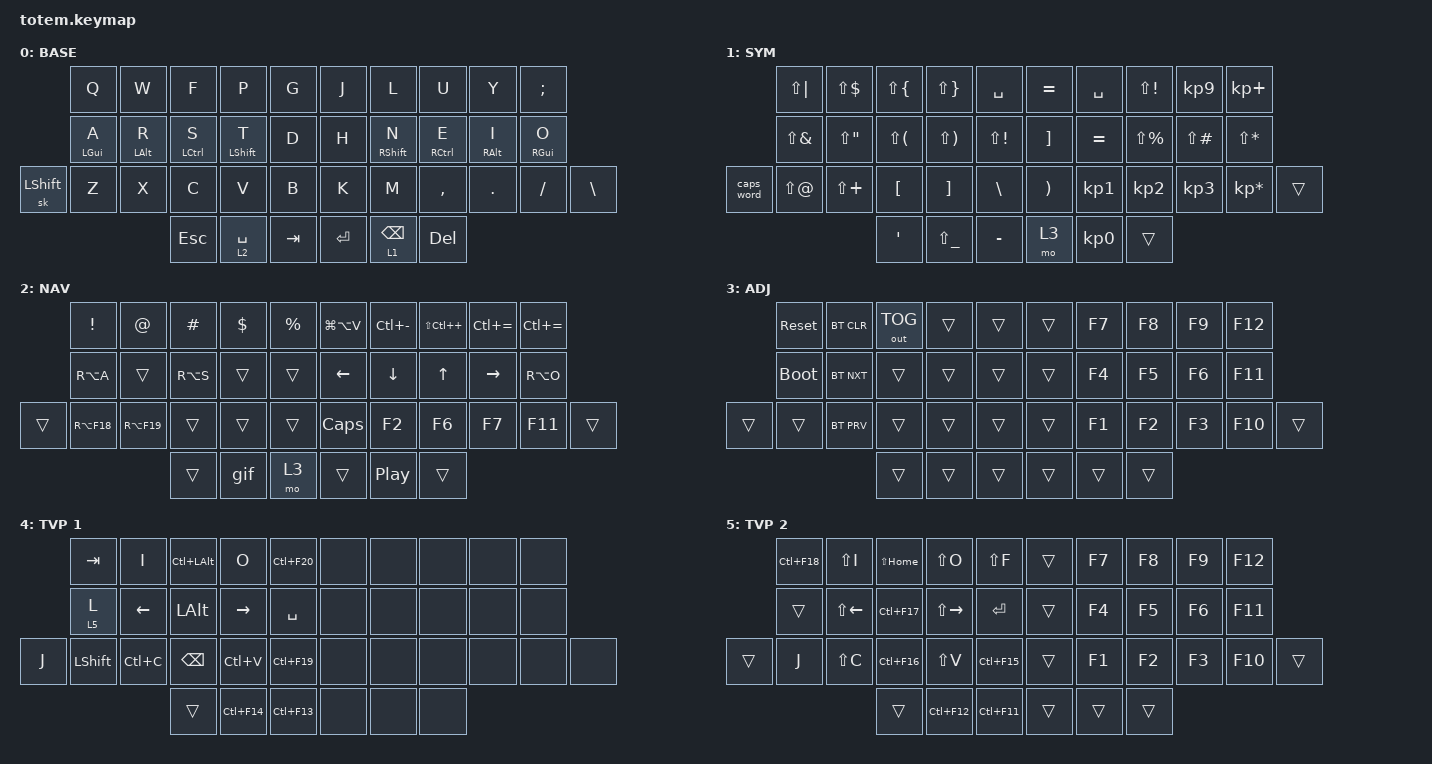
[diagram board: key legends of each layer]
//
//                                                        ▀▀▀▀▀     ▀▀▀▀▀          ▀▀█▀▀
//                                                        ▄▀▀▀▄  ▄  ▄▀▀▀▄  ▄  ▄▀▀▀▄  █  ▄▀▀▀▄
//                                                        █   █  █  █   █  █  █   █  █  █   █
//                                                         ▀▀▀   █   ▀▀▀   █   ▀▀▀   ▀   ▀▀▀
//                                                               █      ▄▄▄█▄▄▄    █   █  
//                                                               ▀      █  █  █     █▄█
//                                                             ▀▀▀▀▀    █  █  █      ▀
//                                                                      ▀  ▀  ▀
//
// ▄▄▄▄▄▄▄▄▄▄▄▄▄▄▄▄▄▄▄▄▄▄▄▄▄▄▄▄▄▄▄▄▄▄▄▄▄▄▄▄▄▄▄▄▄▄▄▄▄▄▄▄▄▄▄▄▄▄▄▄▄▄▄▄▄▄▄▄▄▄▄▄▄▄▄▄▄▄▄▄▄▄▄▄▄▄▄▄▄▄▄▄▄▄▄▄▄▄▄▄▄▄▄▄▄▄▄▄▄▄▄▄▄▄▄▄▄▄▄▄▄▄▄▄▄▄▄▄▄▄▄▄▄▄▄▄▄▄▄▄▄▄▄▄▄▄▄▄▄

#include <behaviors.dtsi>
#include <dt-bindings/zmk/bt.h>
#include <dt-bindings/zmk/keys.h>
#include <dt-bindings/zmk/outputs.h>

#define BASE 0
#define NAV  1
#define SYM  2
#define ADJ  3
#define TVP1 4
#define TVP2 5

&mt {
    quick-tap-ms = <100>;
    global-quick-tap;
    flavor = "tap-preferred";
    tapping-term-ms = <170>;
};

/ {
    combos {
        compatible = "zmk,combos";

        combo_esc {
            timeout-ms = <50>;
            key-positions = <0 1>;
            bindings = <&kp ESC>;
        };

        combo_tvp {
            timeout-ms = <100>;
            key-positions = <11 12 13>;
            bindings = <&tog 4>;
        };
    };

    macros {
        gif: gif {
            label = "giphy";
            compatible = "zmk,behavior-macro";
            #binding-cells = <0>;
            bindings =
                <&macro_press>,
                <&kp LSHFT>,
                <&macro_tap>,
                <&kp N2>,
                <&macro_release>,
                <&kp LSHFT>,
                <&macro_tap>,
                <&kp G &kp I &kp F>;
        };
    };

    keymap {
        compatible = "zmk,keymap";

        // ▄▄▄▄▄▄▄▄▄▄▄▄▄▄▄▄▄▄▄▄▄▄▄▄▄▄▄▄▄▄▄▄▄▄▄▄▄▄▄▄▄▄▄▄▄▄▄▄▄▄▄▄▄▄▄▄▄▄▄▄▄▄▄▄▄▄▄▄▄▄▄▄▄▄▄▄▄▄▄▄▄▄▄▄▄▄▄▄▄▄▄▄▄▄▄▄▄▄▄▄▄▄▄▄▄▄▄▄▄▄▄▄▄▄▄▄▄▄▄▄▄▄▄▄▄▄▄▄▄▄▄▄▄▄▄▄▄▄▄▄▄▄▄▄▄▄▄▄▄

        base {
            // ┏━━━━━━━━━━━━━━━━━━━━━━━━━━━━━━━━━━━━━━━┓

            label = "BASE";

            // ┗━━━━━━━━━━━━━━━━━━━━━━━━━━━━━━━━━━━━━━━┛
            //             ┏━━━━━━━━━━━┳━━━━━━━━━━━┳━━━━━━━━━━━┳━━━━━━━━━━━┳━━━━━━━━━━━┓   ┏━━━━━━━━━━━┳━━━━━━━━━━━┳━━━━━━━━━━━┳━━━━━━━━━━━┳━━━━━━━━━━━┓
            //             ┃     Q     ┃     W     ┃     F     ┃     P     ┃     G     ┃   ┃     J     ┃     L     ┃     U     ┃     Y     ┃     ;     ┃
            //             ┣━━━━━━━━━━━╋━━━━━━━━━━━╋━━━━━━━━━━━╋━━━━━━━━━━━╋━━━━━━━━━━━┫   ┣━━━━━━━━━━━╋━━━━━━━━━━━╋━━━━━━━━━━━╋━━━━━━━━━━━╋━━━━━━━━━━━┫
            //             ┃     A     ┃     R     ┃     S     ┃     T     ┃     D     ┃   ┃     H     ┃     N     ┃     E     ┃     I     ┃     O     ┃
            // ┏━━━━━━━━━━━╋━━━━━━━━━━━╋━━━━━━━━━━━╋━━━━━━━━━━━╋━━━━━━━━━━━╋━━━━━━━━━━━┫   ┣━━━━━━━━━━━╋━━━━━━━━━━━╋━━━━━━━━━━━╋━━━━━━━━━━━╋━━━━━━━━━━━╋━━━━━━━━━━━┓
            // ┃     Q     ┃     Z     ┃     X     ┃     C     ┃     V     ┃     B     ┃   ┃     K     ┃     M     ┃     ,     ┃     .     ┃     /     ┃     \     ┃
            // ┗━━━━━━━━━━━┻━━━━━━━━━━━┻━━━━━━━━━━━╋━━━━━━━━━━━╋━━━━━━━━━━━╋━━━━━━━━━━━┫   ┣━━━━━━━━━━━╋━━━━━━━━━━━╋━━━━━━━━━━━╋━━━━━━━━━━━┻━━━━━━━━━━━┻━━━━━━━━━━━┛
            //                                     ┃    DEL    ┃    TAB    ┃    SPC    ┃   ┃   ENTER   ┃           ┃   BSPC    ┃
            //                                     ┗━━━━━━━━━━━┻━━━━━━━━━━━┻━━━━━━━━━━━┛   ┗━━━━━━━━━━━┻━━━━━━━━━━━┻━━━━━━━━━━━┛

            bindings = <
                &kp Q       &kp W       &kp F        &kp P        &kp G      &kp J    &kp L            &kp U        &kp Y       &kp SEMI
                &mt LGUI A  &mt LALT R  &mt LCTRL S  &mt LSHFT T  &kp D      &kp H    &mt RSHFT N      &mt RCTRL E  &mt RALT I  &mt RGUI O
&sk LEFT_SHIFT  &kp Z       &kp X       &kp C        &kp V        &kp B      &kp K    &kp M            &kp COMMA    &kp DOT     &kp FSLH    &kp BSLH
                                        &kp ESCAPE   &lt 2 SPACE  &kp TAB    &kp RET  &lt 1 BACKSPACE  &kp DELETE
            >;
        };

        // ▄▄▄▄▄▄▄▄▄▄▄▄▄▄▄▄▄▄▄▄▄▄▄▄▄▄▄▄▄▄▄▄▄▄▄▄▄▄▄▄▄▄▄▄▄▄▄▄▄▄▄▄▄▄▄▄▄▄▄▄▄▄▄▄▄▄▄▄▄▄▄▄▄▄▄▄▄▄▄▄▄▄▄▄▄▄▄▄▄▄▄▄▄▄▄▄▄▄▄▄▄▄▄▄▄▄▄▄▄▄▄▄▄▄▄▄▄▄▄▄▄▄▄▄▄▄▄▄▄▄▄▄▄▄▄▄▄▄▄▄▄▄▄▄▄▄▄▄▄

        symbols {
            // ┏━━━━━━━━━━━━━━━━━━━━━━━━━━━━━━━━━━━━━━━┓

            label = "SYM";

            // ┗━━━━━━━━━━━━━━━━━━━━━━━━━━━━━━━━━━━━━━━┛
            //             ┏━━━━━━━━━━━┳━━━━━━━━━━━┳━━━━━━━━━━━┳━━━━━━━━━━━┳━━━━━━━━━━━┓   ┏━━━━━━━━━━━┳━━━━━━━━━━━┳━━━━━━━━━━━┳━━━━━━━━━━━┳━━━━━━━━━━━┓
            //             ┃           ┃           ┃     UP    ┃           ┃     {     ┃   ┃     }     ┃     7     ┃     8     ┃     9     ┃     +     ┃
            //             ┣━━━━━━━━━━━╋━━━━━━━━━━━╋━━━━━━━━━━━╋━━━━━━━━━━━╋━━━━━━━━━━━┫   ┣━━━━━━━━━━━╋━━━━━━━━━━━╋━━━━━━━━━━━╋━━━━━━━━━━━╋━━━━━━━━━━━┫
            //             ┃   SHIFT   ┃   LEFT    ┃    DOWN   ┃   RIGHT   ┃     [     ┃   ┃     ]     ┃     4     ┃     5     ┃     6     ┃     -     ┃
            // ┏━━━━━━━━━━━╋━━━━━━━━━━━╋━━━━━━━━━━━╋━━━━━━━━━━━╋━━━━━━━━━━━╋━━━━━━━━━━━┫   ┣━━━━━━━━━━━╋━━━━━━━━━━━╋━━━━━━━━━━━╋━━━━━━━━━━━╋━━━━━━━━━━━╋━━━━━━━━━━━┓
            // ┃           ┃           ┃   P UP    ┃  C LOCK   ┃  P DOWN   ┃     (     ┃   ┃     )     ┃     1     ┃     2     ┃     3     ┃     *     ┃           ┃
            // ┗━━━━━━━━━━━┻━━━━━━━━━━━┻━━━━━━━━━━━╋━━━━━━━━━━━╋━━━━━━━━━━━╋━━━━━━━━━━━┫   ┣━━━━━━━━━━━╋━━━━━━━━━━━╋━━━━━━━━━━━╋━━━━━━━━━━━┻━━━━━━━━━━━┻━━━━━━━━━━━┛
            //                                     ┃           ┃    TAB    ┃    SPC    ┃   ┃    DEL    ┃     0     ┃           ┃
            //                                     ┗━━━━━━━━━━━┻━━━━━━━━━━━┻━━━━━━━━━━━┛   ┗━━━━━━━━━━━┻━━━━━━━━━━━┻━━━━━━━━━━━┛

            bindings = <
            &kp LS(PIPE)  &kp LS(DLLR)  &kp LS(LBRC)  &kp LS(RBRC)   &kp SPACE       &kp EQUAL  &kp SPACE  &kp LS(EXCL)   &kp KP_N9      &kp KP_PLUS
            &kp LS(AMPS)  &kp LS(DQT)   &kp LS(LPAR)  &kp LS(RPAR)   &kp LS(EXCL)    &kp RBKT   &kp EQUAL  &kp LS(PRCNT)  &kp LS(POUND)  &kp LS(STAR)
&caps_word  &kp LS(AT)    &kp LS(PLUS)  &kp LBKT      &kp RBKT       &kp BSLH        &kp RPAR   &kp KP_N1  &kp KP_N2      &kp KP_N3      &kp KP_MULTIPLY  &trans
                                        &kp SQT       &kp LS(UNDER)  &kp MINUS       &mo 3      &kp KP_N0  &trans
            >;
        };

        // ▄▄▄▄▄▄▄▄▄▄▄▄▄▄▄▄▄▄▄▄▄▄▄▄▄▄▄▄▄▄▄▄▄▄▄▄▄▄▄▄▄▄▄▄▄▄▄▄▄▄▄▄▄▄▄▄▄▄▄▄▄▄▄▄▄▄▄▄▄▄▄▄▄▄▄▄▄▄▄▄▄▄▄▄▄▄▄▄▄▄▄▄▄▄▄▄▄▄▄▄▄▄▄▄▄▄▄▄▄▄▄▄▄▄▄▄▄▄▄▄▄▄▄▄▄▄▄▄▄▄▄▄▄▄▄▄▄▄▄▄▄▄▄▄▄▄▄▄▄

        navigation {
            // ┏━━━━━━━━━━━━━━━━━━━━━━━━━━━━━━━━━━━━━━━┓

            label = "NAV";

            // ┗━━━━━━━━━━━━━━━━━━━━━━━━━━━━━━━━━━━━━━━┛
            //             ┏━━━━━━━━━━━┳━━━━━━━━━━━┳━━━━━━━━━━━┳━━━━━━━━━━━┳━━━━━━━━━━━┓   ┏━━━━━━━━━━━┳━━━━━━━━━━━┳━━━━━━━━━━━┳━━━━━━━━━━━┳━━━━━━━━━━━┓
            //             ┃     !     ┃     @     ┃     #     ┃     $     ┃     %     ┃   ┃     ˆ     ┃     &     ┃     Ü     ┃     '     ┃     "     ┃
            //             ┣━━━━━━━━━━━╋━━━━━━━━━━━╋━━━━━━━━━━━╋━━━━━━━━━━━╋━━━━━━━━━━━┫   ┣━━━━━━━━━━━╋━━━━━━━━━━━╋━━━━━━━━━━━╋━━━━━━━━━━━╋━━━━━━━━━━━┫
            //             ┃     Ä     ┃           ┃    SZ     ┃           ┃           ┃   ┃   MUTE    ┃   YEN     ┃   EURO    ┃  POUND    ┃     Ö     ┃
            // ┏━━━━━━━━━━━╋━━━━━━━━━━━╋━━━━━━━━━━━╋━━━━━━━━━━━╋━━━━━━━━━━━╋━━━━━━━━━━━┫   ┣━━━━━━━━━━━╋━━━━━━━━━━━╋━━━━━━━━━━━╋━━━━━━━━━━━╋━━━━━━━━━━━╋━━━━━━━━━━━┓
            // ┃           ┃  EMAIL1   ┃  EMAIL2   ┃           ┃           ┃           ┃   ┃   VOL-    ┃   VOL+    ┃   LAST    ┃   NEXT    ┃     \     ┃           ┃
            // ┗━━━━━━━━━━━┻━━━━━━━━━━━┻━━━━━━━━━━━╋━━━━━━━━━━━╋━━━━━━━━━━━╋━━━━━━━━━━━┫   ┣━━━━━━━━━━━╋━━━━━━━━━━━╋━━━━━━━━━━━╋━━━━━━━━━━━┻━━━━━━━━━━━┻━━━━━━━━━━━┛
            //                                     ┃           ┃    GIF    ┃    ADJ    ┃   ┃           ┃           ┃           ┃
            //                                     ┗━━━━━━━━━━━┻━━━━━━━━━━━┻━━━━━━━━━━━┛   ┗━━━━━━━━━━━┻━━━━━━━━━━━┻━━━━━━━━━━━┛

            bindings = <
        &kp EXCL     &kp AT       &kp HASH   &kp DLLR  &kp PRCNT    &kp LG(LA(V))  &kp LC(MINUS)  &kp LS(LC(PLUS))  &kp LC(EQUAL)  &kp LC(EQUAL)
        &kp RA(A)    &trans       &kp RA(S)  &trans    &trans       &kp LEFT       &kp DOWN       &kp UP            &kp RIGHT      &kp RA(O)
&trans  &kp RA(F18)  &kp RA(F19)  &trans     &trans    &trans       &kp CAPS       &kp F2         &kp F6            &kp F7         &kp F11        &trans
                                  &trans     &gif      &mo 3        &trans         &kp C_PP       &trans
            >;
        };

        // ▄▄▄▄▄▄▄▄▄▄▄▄▄▄▄▄▄▄▄▄▄▄▄▄▄▄▄▄▄▄▄▄▄▄▄▄▄▄▄▄▄▄▄▄▄▄▄▄▄▄▄▄▄▄▄▄▄▄▄▄▄▄▄▄▄▄▄▄▄▄▄▄▄▄▄▄▄▄▄▄▄▄▄▄▄▄▄▄▄▄▄▄▄▄▄▄▄▄▄▄▄▄▄▄▄▄▄▄▄▄▄▄▄▄▄▄▄▄▄▄▄▄▄▄▄▄▄▄▄▄▄▄▄▄▄▄▄▄▄▄▄▄▄▄▄▄▄▄▄

        adjust_layer {
            // ┏━━━━━━━━━━━━━━━━━━━━━━━━━━━━━━━━━━━━━━━┓

            label = "ADJ";

            // ┗━━━━━━━━━━━━━━━━━━━━━━━━━━━━━━━━━━━━━━━┛
            //             ┏━━━━━━━━━━━┳━━━━━━━━━━━┳━━━━━━━━━━━┳━━━━━━━━━━━┳━━━━━━━━━━━┓   ┏━━━━━━━━━━━┳━━━━━━━━━━━┳━━━━━━━━━━━┳━━━━━━━━━━━┳━━━━━━━━━━━┓
            //             ┃   RESET   ┃ BT CLEAR  ┃  OUT TOG  ┃           ┃           ┃   ┃           ┃    F7     ┃    F8     ┃    F9     ┃    F12    ┃
            //             ┣━━━━━━━━━━━╋━━━━━━━━━━━╋━━━━━━━━━━━╋━━━━━━━━━━━╋━━━━━━━━━━━┫   ┣━━━━━━━━━━━╋━━━━━━━━━━━╋━━━━━━━━━━━╋━━━━━━━━━━━╋━━━━━━━━━━━┫
            //             ┃ BOOTLOAD  ┃ BT NEXT   ┃           ┃           ┃           ┃   ┃           ┃    F4     ┃    F5     ┃    F6     ┃    F11    ┃
            // ┏━━━━━━━━━━━╋━━━━━━━━━━━╋━━━━━━━━━━━╋━━━━━━━━━━━╋━━━━━━━━━━━╋━━━━━━━━━━━┫   ┣━━━━━━━━━━━╋━━━━━━━━━━━╋━━━━━━━━━━━╋━━━━━━━━━━━╋━━━━━━━━━━━╋━━━━━━━━━━━┓
            // ┃           ┃           ┃ BT PREV   ┃           ┃           ┃           ┃   ┃           ┃    F1     ┃    F2     ┃    F3     ┃    F10    ┃           ┃
            // ┗━━━━━━━━━━━┻━━━━━━━━━━━┻━━━━━━━━━━━╋━━━━━━━━━━━╋━━━━━━━━━━━╋━━━━━━━━━━━┫   ┣━━━━━━━━━━━╋━━━━━━━━━━━╋━━━━━━━━━━━╋━━━━━━━━━━━┻━━━━━━━━━━━┻━━━━━━━━━━━┛
            //                                     ┃           ┃           ┃           ┃   ┃           ┃           ┃           ┃
            //                                     ┗━━━━━━━━━━━┻━━━━━━━━━━━┻━━━━━━━━━━━┛   ┗━━━━━━━━━━━┻━━━━━━━━━━━┻━━━━━━━━━━━┛

            bindings = <
        &sys_reset   &bt BT_CLR  &out OUT_TOG  &trans  &trans    &trans  &kp F7  &kp F8  &kp F9  &kp F12
        &bootloader  &bt BT_NXT  &trans        &trans  &trans    &trans  &kp F4  &kp F5  &kp F6  &kp F11
&trans  &trans       &bt BT_PRV  &trans        &trans  &trans    &trans  &kp F1  &kp F2  &kp F3  &kp F10  &trans
                                 &trans        &trans  &trans    &trans  &trans  &trans
            >;
        };

        // ▄▄▄▄▄▄▄▄▄▄▄▄▄▄▄▄▄▄▄▄▄▄▄▄▄▄▄▄▄▄▄▄▄▄▄▄▄▄▄▄▄▄▄▄▄▄▄▄▄▄▄▄▄▄▄▄▄▄▄▄▄▄▄▄▄▄▄▄▄▄▄▄▄▄▄▄▄▄▄▄▄▄▄▄▄▄▄▄▄▄▄▄▄▄▄▄▄▄▄▄▄▄▄▄▄▄▄▄▄▄▄▄▄▄▄▄▄▄▄▄▄▄▄▄▄▄▄▄▄▄▄▄▄▄▄▄▄▄▄▄▄▄▄▄▄▄▄▄▄

        tvp1_layer {
            // ┏━━━━━━━━━━━━━━━━━━━━━━━━━━━━━━━━━━━━━━━┓

            label = "TVP 1";

            // ┗━━━━━━━━━━━━━━━━━━━━━━━━━━━━━━━━━━━━━━━┛
            //             ┏━━━━━━━━━━━┳━━━━━━━━━━━┳━━━━━━━━━━━┳━━━━━━━━━━━┳━━━━━━━━━━━┓   ┏━━━━━━━━━━━┳━━━━━━━━━━━┳━━━━━━━━━━━┳━━━━━━━━━━━┳━━━━━━━━━━━┓
            //             ┃ NEXT FILE ┃ MARK IN   ┃ ROTATE    ┃ MARK OUT  ┃ SHOW SNAP ┃   ┃           ┃           ┃           ┃           ┃           ┃
            //             ┣━━━━━━━━━━━╋━━━━━━━━━━━╋━━━━━━━━━━━╋━━━━━━━━━━━╋━━━━━━━━━━━┫   ┣━━━━━━━━━━━╋━━━━━━━━━━━╋━━━━━━━━━━━╋━━━━━━━━━━━╋━━━━━━━━━━━┫
            //             ┃ TVP II    ┃ LEFT      ┃ PAN       ┃ RIGHT     ┃ PLAY/FLIP ┃   ┃           ┃           ┃           ┃           ┃           ┃
            // ┏━━━━━━━━━━━╋━━━━━━━━━━━╋━━━━━━━━━━━╋━━━━━━━━━━━╋━━━━━━━━━━━╋━━━━━━━━━━━┫   ┣━━━━━━━━━━━╋━━━━━━━━━━━╋━━━━━━━━━━━╋━━━━━━━━━━━╋━━━━━━━━━━━╋━━━━━━━━━━━┓
            // ┃ FULLSCR   ┃ SHIFT     ┃ COPY      ┃ DELETE    ┃ PASTE     ┃ IMG MARK  ┃   ┃           ┃           ┃           ┃           ┃           ┃           ┃
            // ┗━━━━━━━━━━━┻━━━━━━━━━━━┻━━━━━━━━━━━╋━━━━━━━━━━━╋━━━━━━━━━━━╋━━━━━━━━━━━┫   ┣━━━━━━━━━━━╋━━━━━━━━━━━╋━━━━━━━━━━━╋━━━━━━━━━━━┻━━━━━━━━━━━┻━━━━━━━━━━━┛
            //                                     ┃           ┃ UNDO/SAVE ┃  SEL/MOV  ┃   ┃           ┃           ┃           ┃
            //                                     ┗━━━━━━━━━━━┻━━━━━━━━━━━┻━━━━━━━━━━━┛   ┗━━━━━━━━━━━┻━━━━━━━━━━━┻━━━━━━━━━━━┛

            bindings = <
       &kp TAB    &kp I      &kp LC(LALT)  &kp O        &kp LC(F20)    &none  &none  &none  &none  &none
       &lt 5 L    &kp LEFT   &kp LALT      &kp RIGHT    &kp SPACE      &none  &none  &none  &none  &none
&kp J  &kp LSHFT  &kp LC(C)  &kp BSPC      &kp LC(V)    &kp LC(F19)    &none  &none  &none  &none  &none  &none
                             &trans        &kp LC(F14)  &kp LC(F13)    &none  &none  &none
            >;
        };

        // ▄▄▄▄▄▄▄▄▄▄▄▄▄▄▄▄▄▄▄▄▄▄▄▄▄▄▄▄▄▄▄▄▄▄▄▄▄▄▄▄▄▄▄▄▄▄▄▄▄▄▄▄▄▄▄▄▄▄▄▄▄▄▄▄▄▄▄▄▄▄▄▄▄▄▄▄▄▄▄▄▄▄▄▄▄▄▄▄▄▄▄▄▄▄▄▄▄▄▄▄▄▄▄▄▄▄▄▄▄▄▄▄▄▄▄▄▄▄▄▄▄▄▄▄▄▄▄▄▄▄▄▄▄▄▄▄▄▄▄▄▄▄▄▄▄▄▄▄▄

        tvp2_layer {
            // ┏━━━━━━━━━━━━━━━━━━━━━━━━━━━━━━━━━━━━━━━┓

            label = "TVP 2";

            // ┗━━━━━━━━━━━━━━━━━━━━━━━━━━━━━━━━━━━━━━━┛
            //             ┏━━━━━━━━━━━┳━━━━━━━━━━━┳━━━━━━━━━━━┳━━━━━━━━━━━┳━━━━━━━━━━━┓   ┏━━━━━━━━━━━┳━━━━━━━━━━━┳━━━━━━━━━━━┳━━━━━━━━━━━┳━━━━━━━━━━━┓
            //             ┃ SOLO      ┃ TOGGLE IN ┃ RESET ROT ┃ TOGGLE OUT┃ TAKE SNAP ┃   ┃           ┃           ┃           ┃           ┃           ┃
            //             ┣━━━━━━━━━━━╋━━━━━━━━━━━╋━━━━━━━━━━━╋━━━━━━━━━━━╋━━━━━━━━━━━┫   ┣━━━━━━━━━━━╋━━━━━━━━━━━╋━━━━━━━━━━━╋━━━━━━━━━━━╋━━━━━━━━━━━┫
            //             ┃ ---       ┃ LAST KEY  ┃ NEW KEY   ┃ NEXT KEY  ┃ ENTER     ┃   ┃           ┃           ┃           ┃           ┃           ┃
            // ┏━━━━━━━━━━━╋━━━━━━━━━━━╋━━━━━━━━━━━╋━━━━━━━━━━━╋━━━━━━━━━━━╋━━━━━━━━━━━┫   ┣━━━━━━━━━━━╋━━━━━━━━━━━╋━━━━━━━━━━━╋━━━━━━━━━━━╋━━━━━━━━━━━╋━━━━━━━━━━━┓
            // ┃           ┃ FULLSCR   ┃ CPY2BRUSH ┃ DEL HEAD  ┃ PSTinPLACE┃ BOOK MARK ┃   ┃           ┃           ┃           ┃           ┃           ┃           ┃
            // ┗━━━━━━━━━━━┻━━━━━━━━━━━┻━━━━━━━━━━━╋━━━━━━━━━━━╋━━━━━━━━━━━╋━━━━━━━━━━━┫   ┣━━━━━━━━━━━╋━━━━━━━━━━━╋━━━━━━━━━━━╋━━━━━━━━━━━┻━━━━━━━━━━━┻━━━━━━━━━━━┛
            //                                     ┃           ┃ REDO/SAV1 ┃TRANS/WARP ┃   ┃           ┃           ┃           ┃
            //                                     ┗━━━━━━━━━━━┻━━━━━━━━━━━┻━━━━━━━━━━━┛   ┗━━━━━━━━━━━┻━━━━━━━━━━━┻━━━━━━━━━━━┛

            bindings = <
        &kp LC(F18)  &kp LS(I)     &kp LS(HOME)  &kp LS(O)      &kp LS(F)      &trans  &kp F7  &kp F8  &kp F9  &kp F12
        &trans       &kp LS(LEFT)  &kp LC(F17)   &kp LS(RIGHT)  &kp RET        &trans  &kp F4  &kp F5  &kp F6  &kp F11
&trans  &kp J        &kp LS(C)     &kp LC(F16)   &kp LS(V)      &kp LC(F15)    &trans  &kp F1  &kp F2  &kp F3  &kp F10  &trans
                                   &trans        &kp LC(F12)    &kp LC(F11)    &trans  &trans  &trans
            >;
        };
    };
};
